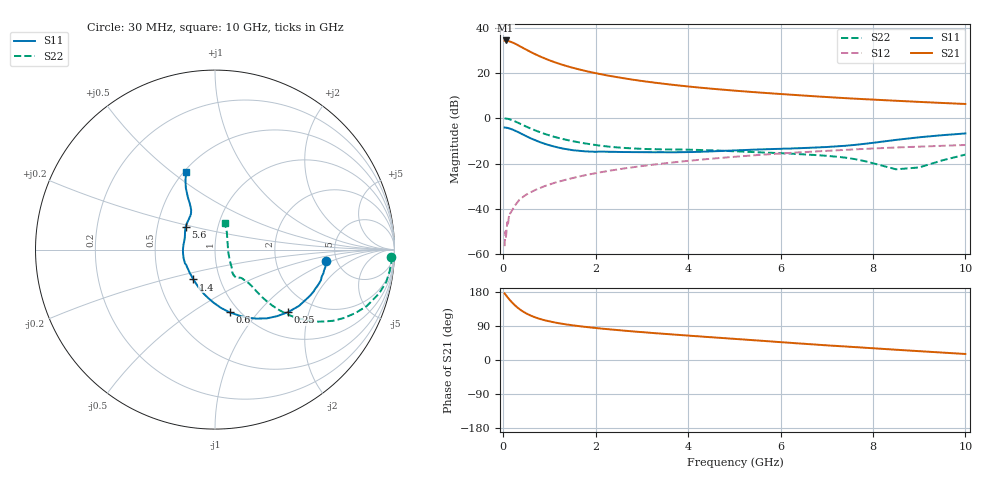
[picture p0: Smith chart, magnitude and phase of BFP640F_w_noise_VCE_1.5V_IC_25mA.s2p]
! Infineon Technologies  Discrete & RF Semiconductors
! BFP640F
! VCE =  1.5 V,  IC =  25 mA
! Common Emitter S-Parameters:  Apr 2013
# GHz  S  MA  R  50
!  f  S11  S21  S12  S22
! GHz  MAG  ANG  MAG  ANG  MAG  ANG  MAG  ANG
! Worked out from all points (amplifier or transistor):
!   99 points, 30 MHz to 10 GHz, reference 50 ohm
!   highest |S21| = 34.4 dB at 50 MHz (marker M1)
!   |S21| within 3 dB of that: start of sweep to 402.3 MHz
!   unconditionally stable (mu >= 1): 1.975 GHz to end of sweep
!   at 350 MHz: K = 0.42, MSG = 34.0 dB, |S12| = -36.0 dB
!   at 3.5 GHz: K = 1.05, MAG = 16.1 dB, |S12| = -19.9 dB
!   at 10 GHz: K = 1.04, MAG = 7.8 dB, |S12| = -11.8 dB
!   lowest NFmin = 0.90 dB at 450 MHz
!   S11 on the Smith chart (normalised r, x): 30 MHz: 4.14, -0.83; 250 MHz: 1.51, -1.47; 600 MHz: 0.90, -0.72; 1.4 GHz: 0.75, -0.26; 5.6 GHz: 0.70, +0.18; 10 GHz: 0.51, +0.57
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0.03  0.6238 -5.6  51.48 175.8  0.0015 97.0  0.9827 -2.3
0.05  0.6226 -9.0  52.18 172.6  0.0032 94.9  0.9857 -4.8
0.11  0.6056 -19.5  50.7 163.1  0.0051 79.1  0.9659 -11.6
0.15  0.5877 -26.1  49.23 157.4  0.0079 82.4  0.939 -15.8
0.2  0.5636 -33.8  47.07 150.7  0.0096 78.6  0.9014 -20.5
0.25  0.5358 -40.6  44.6 144.7  0.0117 74.3  0.8574 -24.4
0.3  0.5066 -47.1  42.07 139.3  0.0137 73.8  0.8136 -27.9
0.4  0.4503 -58.6  37.05 130.1  0.0173 72.4  0.7277 -33.4
0.5  0.4008 -68.2  32.62 122.8  0.0206 70.7  0.654 -37.3
0.6  0.3589 -76.9  28.86 116.9  0.0234 70.2  0.59 -40.1
0.7  0.3254 -84.4  25.7 112.2  0.0263 69.6  0.5355 -42.0
0.9  0.2726 -98.0  20.89 104.8  0.0318 69.1  0.4516 -44.2
1.1  0.2379 -110.0  17.46 99.4  0.0373 68.5  0.3903 -45.1
1.4  0.2055 -126.0  13.94 93.3  0.0451 68.3  0.3284 -45.2
1.7  0.1888 -140.0  11.58 88.5  0.0533 67.7  0.286 -44.7
2.4  0.1815 -164.5  8.283 79.8  0.072 65.4  0.2301 -46.4
3.4  0.178 171.8  5.894 69.8  0.0986 61.0  0.2061 -49.6
5.1  0.1967 147.8  4 54.9  0.1435 52.1  0.1852 -53.6
5.6  0.2058 142.8  3.663 50.7  0.1566 49.3  0.1761 -53.6
6.7  0.2244 130.2  3.076 41.2  0.1834 42.8  0.1553 -52.0
8.5  0.3332 117.2  2.434 27.1  0.2263 32.0  0.0746 -9.1
10  0.4617 110.2  2.067 15.9  0.257 23.1  0.1577 69.9
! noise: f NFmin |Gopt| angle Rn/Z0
0.45  0.9  0.15  -174  0.06
0.9  0.92  0.16  -169  0.06
1.5  0.95  0.16  -163  0.07
1.9  0.98  0.17  -157  0.08
2.4  1.01  0.18  -149  0.08
3.5  1.09  0.19  -139  0.1
5.5  1.27  0.22  -122  0.13
10  1.73  0.43  -86  0.42
